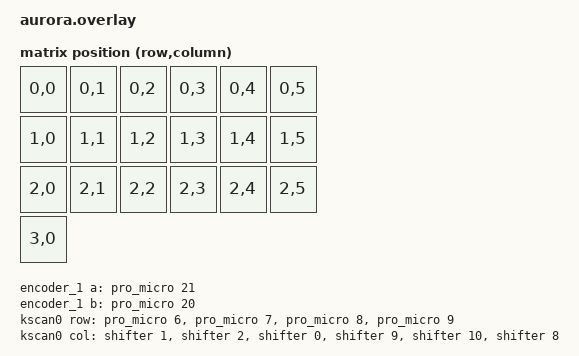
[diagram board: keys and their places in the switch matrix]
/*
 * Copyright (c) 2023 The ZMK Contributors
 *
 * SPDX-License-Identifier: MIT
 */

#include <dt-bindings/zmk/matrix_transform.h>

/ {
    chosen {
        zmk,kscan = &kscan0;
        zephyr,display = &oled;
        zmk,matrix_transform = &transform;
		zmk,battery = &vbatt;
    };

	vbatt: vbatt {
        compatible = "zmk,battery-nrf-vddh";
        label = "VBATT";
    };

    transform: transform {
		compatible = "zmk,matrix-transform";
        columns = <6>;
		rows = <4>;

		map = <
RC(0,0) RC(0,1) RC(0,2) RC(0,3) RC(0,4) RC(0,5)
RC(1,0) RC(1,1) RC(1,2) RC(1,3) RC(1,4) RC(1,5)
RC(2,0) RC(2,1) RC(2,2) RC(2,3) RC(2,4) RC(2,5)
RC(3,0)
	    >;
	};

    encoder_1: encoder_1 {
        compatible = "alps,ec11";
        label = "Encoder 1";
        a-gpios = <&pro_micro 21 (GPIO_ACTIVE_LOW | GPIO_PULL_UP)>;
        b-gpios = <&pro_micro 20 (GPIO_ACTIVE_LOW | GPIO_PULL_UP)>;
        steps = <80>;
        status = "okay";
    };

    kscan0: kscan {
        compatible = "zmk,kscan-gpio-matrix";
        label = "KSCAN";
		
		debounce-press-ms = <1>;
		debounce-release-ms = <5>;        
        diode-direction = "col2row";

        col-gpios
			= <&shifter 1 (GPIO_ACTIVE_HIGH)>
			, <&shifter 2 (GPIO_ACTIVE_HIGH)>
			, <&shifter 0 (GPIO_ACTIVE_HIGH)>
			, <&shifter 9 (GPIO_ACTIVE_HIGH)>
            , <&shifter 10 (GPIO_ACTIVE_HIGH)>
			, <&shifter 8 (GPIO_ACTIVE_HIGH)>
			;
		row-gpios
            = <&pro_micro 6 (GPIO_ACTIVE_HIGH | GPIO_PULL_DOWN)>
            , <&pro_micro 7 (GPIO_ACTIVE_HIGH | GPIO_PULL_DOWN)>
            , <&pro_micro 8 (GPIO_ACTIVE_HIGH | GPIO_PULL_DOWN)>
            , <&pro_micro 9 (GPIO_ACTIVE_HIGH | GPIO_PULL_DOWN)>
            ;
    };
};

&spi1 {
	status = "okay";
	cs-gpios = <&pro_micro 19 GPIO_ACTIVE_LOW>;
	shifter: 595@0 {
		compatible = "zmk,gpio-595";
		status = "okay";
		gpio-controller;
		spi-max-frequency = <200000>;
		reg = <0>;
		label = "4HC595";
		#gpio-cells = <2>;
		ngpios = <16>;
	};
};

&pro_micro_i2c {
	status = "okay";

	oled: ssd1306@3c {
		compatible = "solomon,ssd1306fb";
		reg = <0x3c>;
		label = "DISPLAY";
		width = <128>;
		height = <32>;
		segment-offset = <0>;
		page-offset = <0>;
		display-offset = <0>;
		multiplex-ratio = <31>;
		segment-remap;
		com-invdir;
		com-sequential;
		prechargep = <0x22>;
	};
};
